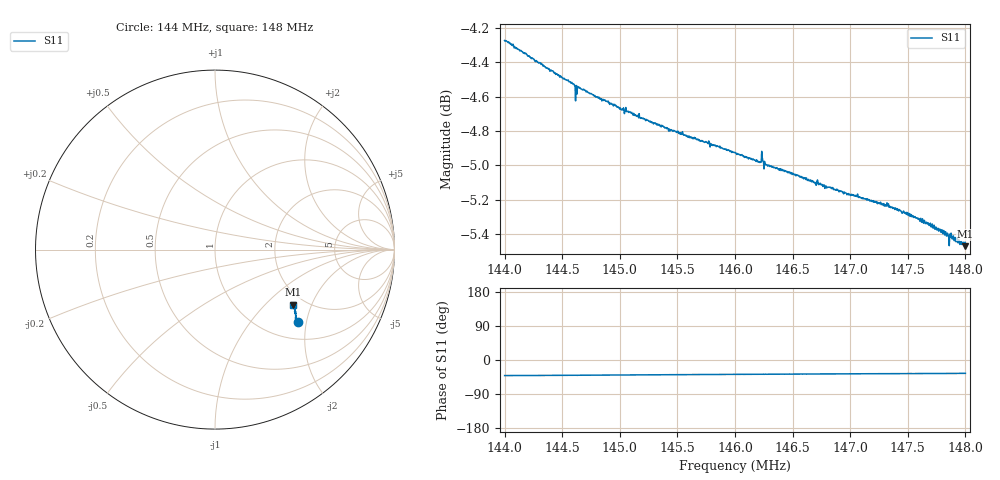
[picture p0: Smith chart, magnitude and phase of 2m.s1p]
! Calibrated averaged scanner-service zoom
# Hz S RI R 50
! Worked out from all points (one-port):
!   1001 points, 144 MHz to 148 MHz, reference 50 ohm
!   lowest |S11| = -5.5 dB at 148 MHz (marker M1), VSWR 3.28, Z = 86.6 - j74.3 ohm
!   |S11| at or under -10 dB: nowhere
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1.44e8  0.4606 -0.4021
1.44172e8  0.4581 -0.3973
1.445e8  0.4536 -0.3872
1.44588e8  0.4529 -0.3845
1.44608e8  0.4525 -0.3834
1.44632e8  0.4525 -0.3832
1.44652e8  0.4521 -0.3825
1.45e8  0.4501 -0.372
1.4544e8  0.4491 -0.3603
1.455e8  0.4485 -0.36
1.45716e8  0.4483 -0.3547
1.4576e8  0.4479 -0.3542
1.45804e8  0.4482 -0.3521
1.46e8  0.4475 -0.3484
1.46204e8  0.4457 -0.3449
1.4622e8  0.4459 -0.3449
1.46228e8  0.4465 -0.3438
1.46272e8  0.4456 -0.3434
1.46328e8  0.4462 -0.3416
1.465e8  0.4448 -0.3391
1.47e8  0.4437 -0.3275
1.47328e8  0.4423 -0.3222
1.475e8  0.4413 -0.3191
1.47624e8  0.4393 -0.3172
1.47796e8  0.4385 -0.3127
1.47856e8  0.4361 -0.3117
1.47884e8  0.4362 -0.3104
1.48e8  0.4352 -0.3073
